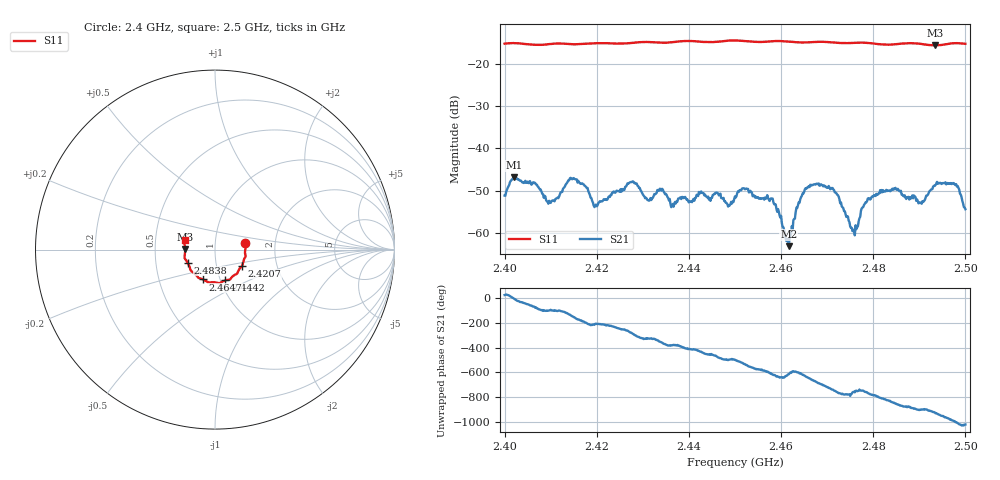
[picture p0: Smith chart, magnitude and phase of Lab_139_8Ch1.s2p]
# Hz S RI R 50
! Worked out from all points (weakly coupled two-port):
!   601 points, 2.4 GHz to 2.5 GHz, reference 50 ohm
!   highest |S21| = -46.88 dB at 2.402 GHz (marker M1); lowest = -63.2 dB at 2.4617 GHz (marker M2)
!   lowest |S11| = -15.6 dB at 2.4935 GHz (marker M3), VSWR 1.40, Z = 35.8 + j0.147 ohm
!   |S11| at or under -10 dB: start of sweep to end of sweep
!   S12 and S22 are empty: the file has one direction only
!   S11 on the Smith chart (normalised r, x): 2.4 GHz: 1.40, +0.11; 2.4207 GHz: 1.33, -0.24; 2.4442 GHz: 1.05, -0.37; 2.4647 GHz: 0.83, -0.29; 2.4838 GHz: 0.73, -0.11; 2.5 GHz: 0.71, +0.08
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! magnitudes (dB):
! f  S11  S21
! 2.4 GHz  -15.2  -51.2
! 2.402 GHz  -15.1  -46.9
! 2.4097 GHz  -15.3  -52.4
! 2.4167 GHz  -15.3  -48.4
! 2.4207 GHz  -15.1  -52.5
! 2.4275 GHz  -15.1  -48.0
! 2.4333 GHz  -15.0  -50.0
! 2.4442 GHz  -14.9  -51.5
! 2.45 GHz  -14.5  -51.4
! 2.4582 GHz  -14.6  -51.9
! 2.4617 GHz  -14.7  -63.2
! 2.4647 GHz  -14.9  -50.7
! 2.4667 GHz  -14.9  -48.7
! 2.4715 GHz  -15.0  -49.9
! 2.4755 GHz  -15.1  -59.6
! 2.4787 GHz  -15.0  -52.5
! 2.4833 GHz  -15.5  -50.1
! 2.4838 GHz  -15.4  -50.1
! 2.4903 GHz  -15.3  -52.9
! 2.4935 GHz  -15.6  -48.7
! 2.4978 GHz  -15.1  -48.7
! 2.5 GHz  -15.2  -54.4
